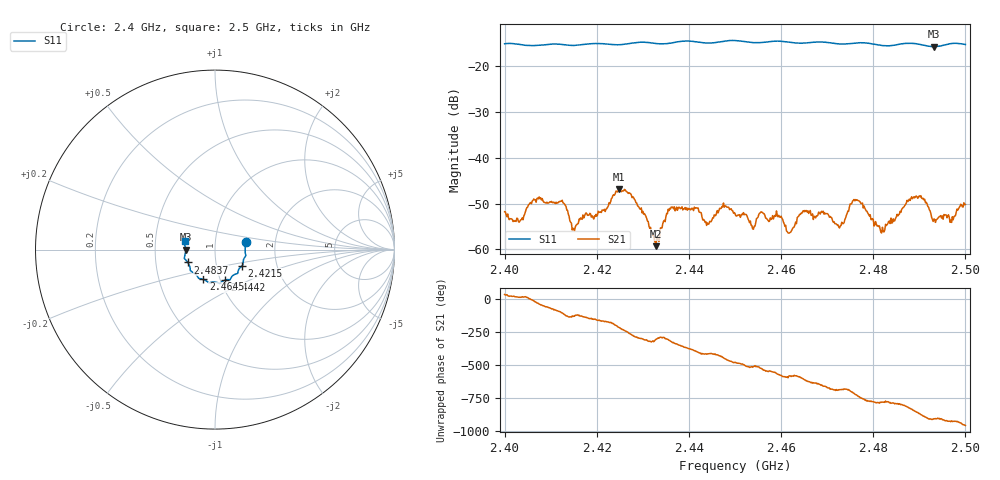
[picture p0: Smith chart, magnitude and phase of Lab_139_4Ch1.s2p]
# Hz S RI R 50
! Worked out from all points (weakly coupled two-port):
!   601 points, 2.4 GHz to 2.5 GHz, reference 50 ohm
!   highest |S21| = -46.91 dB at 2.4248 GHz (marker M1); lowest = -59.3 dB at 2.4328 GHz (marker M2)
!   lowest |S11| = -15.7 dB at 2.4932 GHz (marker M3), VSWR 1.39, Z = 35.9 - j0.0473 ohm
!   |S11| at or under -10 dB: start of sweep to end of sweep
!   S12 and S22 are empty: the file has one direction only
!   S11 on the Smith chart (normalised r, x): 2.4 GHz: 1.41, +0.12; 2.4215 GHz: 1.33, -0.25; 2.4442 GHz: 1.05, -0.37; 2.4645 GHz: 0.83, -0.29; 2.4837 GHz: 0.73, -0.11; 2.5 GHz: 0.71, +0.07
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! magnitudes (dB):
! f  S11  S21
! 2.4 GHz  -15.1  -51.8
! 2.4035 GHz  -15.3  -53.6
! 2.4077 GHz  -15.4  -48.9
! 2.4167 GHz  -15.3  -53.3
! 2.4215 GHz  -15.1  -51.5
! 2.4248 GHz  -15.3  -46.9
! 2.4328 GHz  -15.0  -59.3
! 2.4333 GHz  -15.1  -57.4
! 2.4363 GHz  -14.9  -50.8
! 2.4442 GHz  -15.0  -54.5
! 2.45 GHz  -14.4  -52.2
! 2.4595 GHz  -14.5  -52.6
! 2.4617 GHz  -14.7  -56.5
! 2.4645 GHz  -15.0  -52.1
! 2.4667 GHz  -14.8  -52.6
! 2.473 GHz  -15.2  -54.8
! 2.4763 GHz  -14.9  -49.3
! 2.4833 GHz  -15.6  -53.9
! 2.4837 GHz  -15.5  -54.4
! 2.4898 GHz  -15.2  -48.5
! 2.4932 GHz  -15.7  -53.3
! 2.5 GHz  -15.3  -50.2
